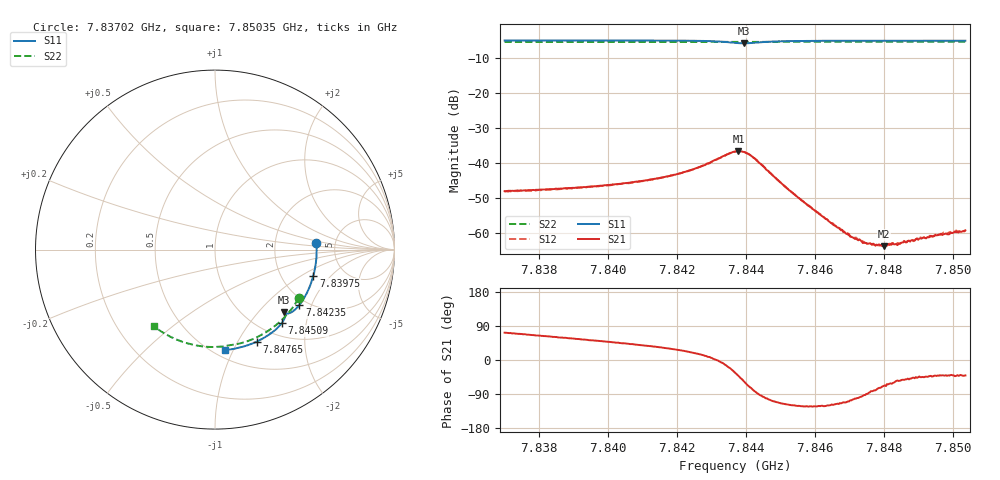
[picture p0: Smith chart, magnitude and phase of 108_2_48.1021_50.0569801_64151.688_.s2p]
#  HZ  S  RI  R  50.00
! Rohde & Schwarz Vector Network Analyzer
! Rohde-Schwarz,ZNB20-2Port,1311601062101988,3.16
! Created: UTC 12/23/2023, 3:45:28 AM
! freq[Hz]  re:S11  im:S11  re:S21  im:S21  re:S12  im:S12  re:S22  im:S22
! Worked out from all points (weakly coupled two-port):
!   401 points, 7.83702 GHz to 7.85035 GHz, reference 50 ohm
!   highest |S21| = -36.64 dB at 7.84378 GHz (marker M1); lowest = -63.8 dB at 7.84799 GHz (marker M2)
!   lowest |S11| = -5.7 dB at 7.84395 GHz (marker M3), VSWR 3.13, Z = 73 - j69.1 ohm
!   |S11| at or under -10 dB: nowhere
!   |S22| runs from -5.4 to -5.3 dB; largest |S21 - S12| = 0.00031
!   S11 on the Smith chart (normalised r, x): 7.83702 GHz: 3.57, +0.36; 7.83975 GHz: 3.00, -1.29; 7.84235 GHz: 1.82, -1.64; 7.84509 GHz: 1.24, -1.46; 7.84765 GHz: 0.80, -1.20; 7.85035 GHz: 0.57, -0.93
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7.837016e9  0.5651 0.0344  0.00121 0.00376  0.00124 0.00369  0.4666 -0.2711
7.83925e9  0.5555 -0.1136  0.00261 0.00363  0.00257 0.00361  0.37 -0.3938
7.83975e9  0.5477 -0.1462  0.00299 0.00361  0.00296 0.00356  0.3438 -0.4172
7.841484e9  0.5041 -0.2564  0.00505 0.00337  0.00499 0.00337  0.2423 -0.4839
7.842351e9  0.4701 -0.3086  0.00721 0.00286  0.00716 0.00287  0.1864 -0.5082
7.843185e9  0.4214 -0.3513  0.0114 -0.000203  0.0115 -0.000146  0.1301 -0.5246
7.843685e9  0.3861 -0.3542  0.0121 -0.00801  0.0121 -0.00781  0.0966 -0.5306
7.843785e9  0.3826 -0.351  0.011 -0.00984  0.0111 -0.0097  0.0902 -0.5313
7.843952e9  0.3821 -0.347  0.0078 -0.0121  0.0078 -0.012  0.0797 -0.5331
7.844252e9  0.3894 -0.353  0.00153 -0.0115  0.00152 -0.0115  0.0604 -0.5367
7.845085e9  0.3737 -0.4075  -0.00209 -0.00433  -0.00206 -0.00438  0.00235 -0.5427
7.845919e9  0.3322 -0.4507  -0.00121 -0.00186  -0.00119 -0.00188  -0.0566 -0.5407
7.846486e9  0.3007 -0.4744  -0.000625 -0.00121  -0.000629 -0.00122  -0.0961 -0.5353
7.847086e9  0.2655 -0.4958  -0.000216 -0.000833  -0.000199 -0.000856  -0.1374 -0.5268
7.847453e9  0.2436 -0.5073  -3.21e-05 -0.000714  -2.43e-06 -0.000712  -0.1623 -0.5199
7.847653e9  0.2313 -0.5132  9.04e-05 -0.000678  7.83e-05 -0.000662  -0.1755 -0.5158
7.847986e9  0.2107 -0.5221  0.000234 -0.000598  0.000221 -0.000625  -0.1976 -0.5079
7.848153e9  0.2004 -0.5261  0.000308 -0.000594  0.000301 -0.00063  -0.2085 -0.5036
7.848386e9  0.1857 -0.5315  0.00039 -0.000539  0.000398 -0.000592  -0.2236 -0.497
7.848553e9  0.1751 -0.5352  0.000447 -0.000573  0.000435 -0.000626  -0.2342 -0.4922
7.850054e9  0.0777 -0.5572  0.000756 -0.000699  0.000773 -0.000686  -0.3246 -0.4389
7.850354e9  0.0579 -0.5594  0.000819 -0.000707  0.000825 -0.000687  -0.3415 -0.4262
